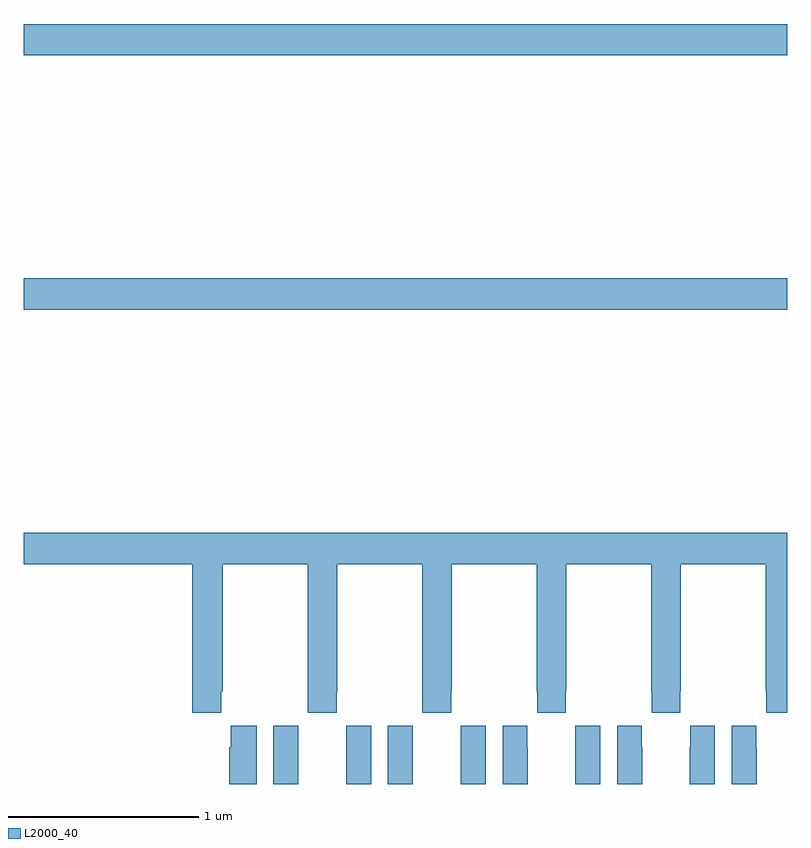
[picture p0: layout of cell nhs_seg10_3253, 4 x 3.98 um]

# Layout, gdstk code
import gdstk
lib = gdstk.Library(unit=1e-6, precision=1e-09)
def R(c, l, rs):  # rectangles x0, y0, x1, y1
    for r in rs: c.add(gdstk.rectangle(r[:2], r[2:], *l))
def P(c, l, *ps):  # polygons
    for p in ps: c.add(gdstk.Polygon(p, *l))
L2000_40 = (2000, 40)

nhs_seg10_3253 = lib.new_cell('nhs_seg10_3253')
R(nhs_seg10_3253, L2000_40, [(287,1298.984,291,1299.148), (287,1300.316,291,1300.48)])
P(nhs_seg10_3253, L2000_40, [(288.035,1296.985),(288.042,1296.985),(288.042,1297.652),(288.487,1297.652),(288.487,1296.985),(288.489,1296.985),(288.489,1296.873),(288.639,1296.873),(288.639,1296.985),(288.642,1296.985),(288.642,1297.652),(289.087,1297.652),(289.087,1296.985),(289.089,1296.985),(289.089,1296.873),(289.239,1296.873),(289.239,1296.985),(289.242,1296.985),(289.242,1297.652),(289.687,1297.652),(289.687,1296.985),(289.689,1296.985),(289.689,1296.873),(289.839,1296.873),(289.839,1296.985),(289.842,1296.985),(289.842,1297.652),(290.287,1297.652),(290.287,1296.985),(290.289,1296.985),(290.289,1296.873),(290.439,1296.873),(290.439,1296.985),(290.442,1296.985),(290.442,1297.652),(290.887,1297.652),(290.887,1296.985),(290.889,1296.985),(290.889,1296.873),(291,1296.873),(291,1297.816),(287,1297.816),(287,1297.652),(287.882,1297.652),(287.882,1296.873),(288.035,1296.873)],
  [(290.839,1296.692),(290.838,1296.692),(290.838,1296.805),(290.708,1296.805),(290.708,1296.5),(290.839,1296.5)],
  [(290.62,1296.805),(290.49,1296.805),(290.49,1296.692),(290.489,1296.692),(290.489,1296.5),(290.62,1296.5)],
  [(290.239,1296.692),(290.238,1296.692),(290.238,1296.805),(290.108,1296.805),(290.108,1296.5),(290.239,1296.5)],
  [(290.02,1296.805),(289.89,1296.805),(289.89,1296.692),(289.889,1296.692),(289.889,1296.5),(290.02,1296.5)],
  [(289.639,1296.692),(289.638,1296.692),(289.638,1296.805),(289.508,1296.805),(289.508,1296.5),(289.639,1296.5)],
  [(289.42,1296.805),(289.29,1296.805),(289.29,1296.692),(289.289,1296.692),(289.289,1296.5),(289.42,1296.5)],
  [(289.039,1296.692),(289.038,1296.692),(289.038,1296.805),(288.908,1296.805),(288.908,1296.5),(289.039,1296.5)],
  [(288.82,1296.805),(288.69,1296.805),(288.69,1296.692),(288.689,1296.692),(288.689,1296.5),(288.82,1296.5)],
  [(288.439,1296.692),(288.438,1296.692),(288.438,1296.805),(288.308,1296.805),(288.308,1296.5),(288.439,1296.5)],
  [(288.22,1296.805),(288.086,1296.805),(288.086,1296.692),(288.077,1296.692),(288.077,1296.5),(288.22,1296.5)])

lib.write_gds('nhs_seg10_3253.gds')
